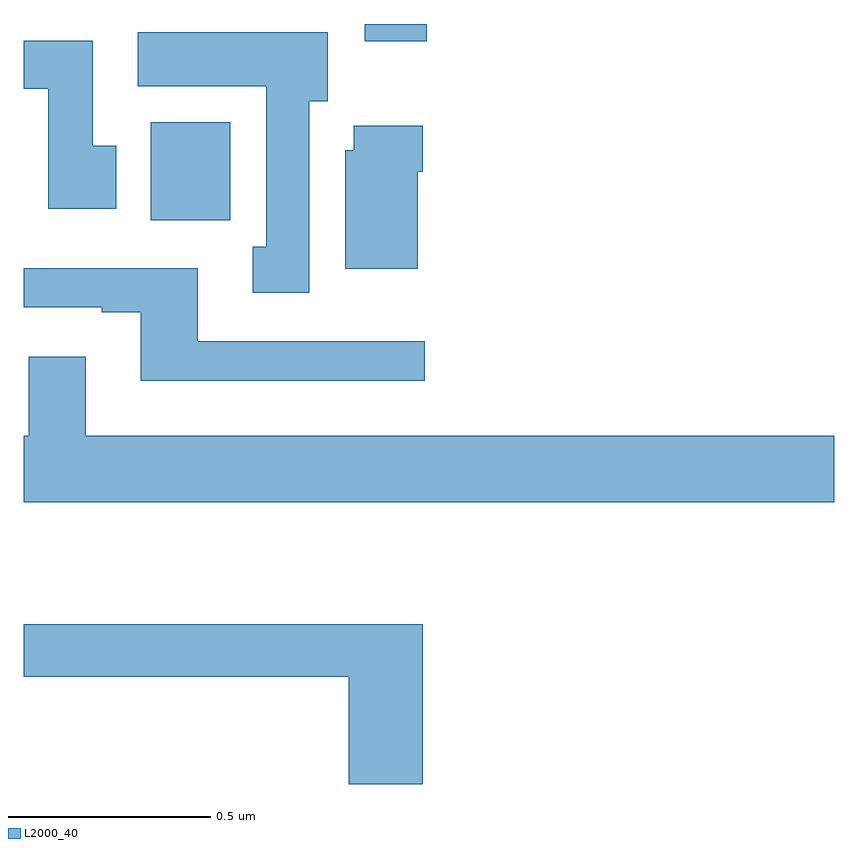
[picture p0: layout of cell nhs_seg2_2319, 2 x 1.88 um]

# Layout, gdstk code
import gdstk
lib = gdstk.Library(unit=1e-6, precision=1e-09)
def R(c, l, rs):  # rectangles x0, y0, x1, y1
    for r in rs: c.add(gdstk.rectangle(r[:2], r[2:], *l))
def P(c, l, *ps):  # polygons
    for p in ps: c.add(gdstk.Polygon(p, *l))
L2000_40 = (2000, 40)

nhs_seg2_2319 = lib.new_cell('nhs_seg2_2319')
R(nhs_seg2_2319, L2000_40, [(139.313,664.316,139.51,664.558), (139.841,664.758,139.994,664.8)])
P(nhs_seg2_2319, L2000_40, [(139.705,664.61),(139.75,664.61),(139.75,664.78),(139.281,664.78),(139.281,664.646),(139.598,664.646),(139.598,664.25),(139.565,664.25),(139.565,664.137),(139.705,664.137)],
  [(139.228,664.5),(139.171,664.5),(139.171,664.759),(139,664.759),(139,664.64),(139.061,664.64),(139.061,664.344),(139.228,664.344)],
  [(139.972,664.436),(139.985,664.436),(139.985,664.549),(139.814,664.549),(139.814,664.488),(139.793,664.488),(139.793,664.196),(139.972,664.196)],
  [(139.99,664.017),(139.429,664.017),(139.429,664.198),(139,664.198),(139,664.101),(139.193,664.101),(139.193,664.089),(139.289,664.089),(139.289,663.92),(139.99,663.92)],
  [(141,663.784),(139.153,663.784),(139.153,663.979),(139.013,663.979),(139.013,663.784),(139,663.784),(139,663.62),(141,663.62)],
  [(139.985,663.319),(139,663.319),(139,663.19),(139.802,663.19),(139.802,662.925),(139.985,662.925)])

lib.write_gds('nhs_seg2_2319.gds')
